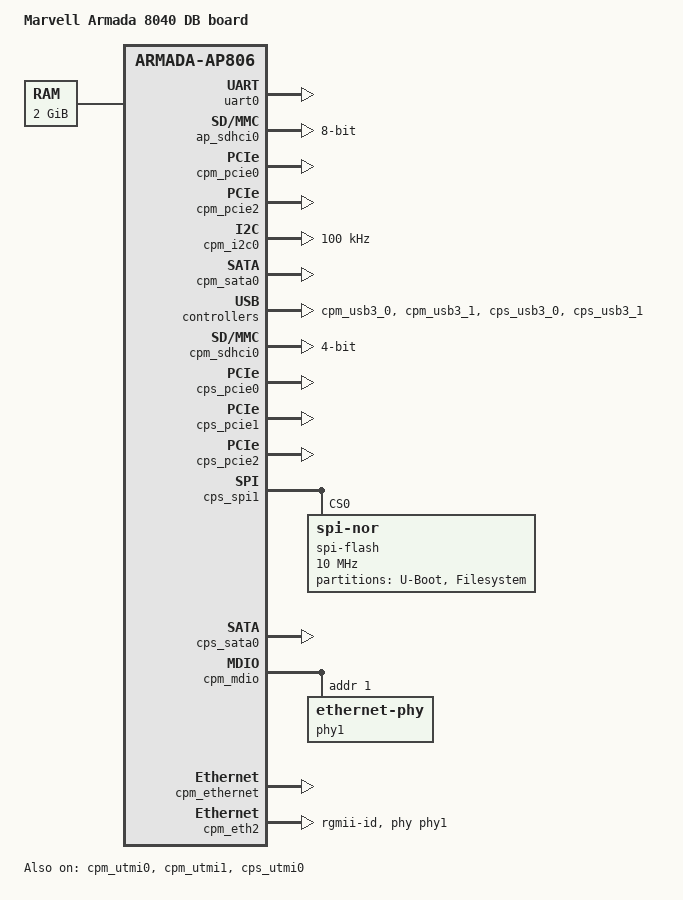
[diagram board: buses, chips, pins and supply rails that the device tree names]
/*
 * Copyright (C) 2016 Marvell Technology Group Ltd.
 *
 * This file is dual-licensed: you can use it either under the terms
 * of the GPLv2 or the X11 license, at your option. Note that this dual
 * licensing only applies to this file, and not this project as a
 * whole.
 *
 *  a) This library is free software; you can redistribute it and/or
 *     modify it under the terms of the GNU General Public License as
 *     published by the Free Software Foundation; either version 2 of the
 *     License, or (at your option) any later version.
 *
 *     This library is distributed in the hope that it will be useful,
 *     but WITHOUT ANY WARRANTY; without even the implied warranty of
 *     MERCHANTABILITY or FITNESS FOR A PARTICULAR PURPOSE.  See the
 *     GNU General Public License for more details.
 *
 * Or, alternatively,
 *
 *  b) Permission is hereby granted, free of charge, to any person
 *     obtaining a copy of this software and associated documentation
 *     files (the "Software"), to deal in the Software without
 *     restriction, including without limitation the rights to use,
 *     copy, modify, merge, publish, distribute, sublicense, and/or
 *     sell copies of the Software, and to permit persons to whom the
 *     Software is furnished to do so, subject to the following
 *     conditions:
 *
 *     The above copyright notice and this permission notice shall be
 *     included in all copies or substantial portions of the Software.
 *
 *     THE SOFTWARE IS PROVIDED "AS IS", WITHOUT WARRANTY OF ANY KIND,
 *     EXPRESS OR IMPLIED, INCLUDING BUT NOT LIMITED TO THE WARRANTIES
 *     OF MERCHANTABILITY, FITNESS FOR A PARTICULAR PURPOSE AND
 *     NONINFRINGEMENT. IN NO EVENT SHALL THE AUTHORS OR COPYRIGHT
 *     HOLDERS BE LIABLE FOR ANY CLAIM, DAMAGES OR OTHER LIABILITY,
 *     WHETHER IN AN ACTION OF CONTRACT, TORT OR OTHERWISE, ARISING
 *     FROM, OUT OF OR IN CONNECTION WITH THE SOFTWARE OR THE USE OR
 *     OTHER DEALINGS IN THE SOFTWARE.
 */

/*
 * Device Tree file for Marvell Armada 8040 Development board platform
 */

#include "armada-8040.dtsi"

/ {
	model = "Marvell Armada 8040 DB board";
	compatible = "marvell,armada8040-db", "marvell,armada8040",
		     "marvell,armada-ap806-quad", "marvell,armada-ap806";

	chosen {
		stdout-path = "serial0:115200n8";
	};

	aliases {
		i2c0 = &cpm_i2c0;
		spi0 = &cps_spi1;
	};

	memory@00000000 {
		device_type = "memory";
		reg = <0x0 0x0 0x0 0x80000000>;
	};
};

/* Accessible over the mini-USB CON9 connector on the main board */
&uart0 {
	status = "okay";
};

&ap_pinctl {
	/* MPP Bus:
	 * SDIO  [0-10]
	 * UART0 [11,19]
	 */
		  /* 0 1 2 3 4 5 6 7 8 9 */
	pin-func = < 1 1 1 1 1 1 1 1 1 1
		     1 3 0 0 0 0 0 0 0 3 >;
};

&ap_sdhci0 {
	pinctrl-names = "default";
	pinctrl-0 = <&ap_emmc_pins>;
	bus-width = <8>;
	status = "okay";
};

&cpm_pinctl {
	/* MPP Bus:
	 *	[0-31]	= 0xff: Keep default CP0_shared_pins
	 *	[11]	CLKOUT_MPP_11 (out)
	 *	[23]	LINK_RD_IN_CP2CP (in)
	 *	[25]	CLKOUT_MPP_25 (out)
	 *	[29]	AVS_FB_IN_CP2CP (in)
	 *	[32,34]	GE_MDIO/MDC
	 *	[33]	GPIO: GE_INT#/push button/Wake
	 *	[35]	MSS_GPIO[3]: MSS_PWDN
	 *	[36]	MSS_GPIO[5]: MSS_VTT_EN
	 *	[37-38]	I2C0
	 *	[39]	PTP_CLK
	 *	[40-41]	SATA[0/1]_PRESENT_ACTIVEn
	 *	[42-43]	XG_MDC/XG_MDIO (XSMI)
	 *	[44-55]	RGMII1
	 *	[56-62]	SD
	 */
	/*   0    1    2    3    4    5    6    7    8    9 */
	pin-func = < 0xff 0xff 0xff 0xff 0xff 0xff 0xff 0xff 0xff 0xff
		     0xff 0xff 0xff 0xff 0xff 0xff 0xff 0xff 0xff 0xff
		     0xff 0xff 0xff 0xff 0xff 0xff 0xff 0xff 0xff 0xff
		     0xff 0xff 0x7  0x0  0x7  0xa  0xa  0x2  0x2  0x5
		     0x9  0x9  0x8  0x8  0x1  0x1  0x1  0x1  0x1  0x1
		     0x1  0x1  0x1  0x1  0x1  0x1  0xe  0xe  0xe  0xe
		     0xe  0xe  0xe>;
};

&cpm_comphy {
	/* Serdes Configuration:
	 *	Lane 0: PCIe0 (x1)
	 *	Lane 1: SATA0
	 *	Lane 2: SFI (10G)
	 *	Lane 3: SATA1
	 *	Lane 4: USB3_HOST1
	 *	Lane 5: PCIe2 (x1)
	 */
	phy0 {
		phy-type = <PHY_TYPE_PEX0>;
	};
	phy1 {
		phy-type = <PHY_TYPE_SATA0>;
	};
	phy2 {
		phy-type = <PHY_TYPE_SFI>;
	};
	phy3 {
		phy-type = <PHY_TYPE_SATA1>;
	};
	phy4 {
		phy-type = <PHY_TYPE_USB3_HOST1>;
	};
	phy5 {
		phy-type = <PHY_TYPE_PEX2>;
	};
};

/* CON6 on CP0 expansion */
&cpm_pcie0 {
	status = "okay";
};

&cpm_pcie1 {
	status = "disabled";
};

/* CON5 on CP0 expansion */
&cpm_pcie2 {
	status = "okay";
};

&cpm_i2c0 {
	pinctrl-names = "default";
	pinctrl-0 = <&cpm_i2c0_pins>;
	status = "okay";
	clock-frequency = <100000>;
};

/* CON4 on CP0 expansion */
&cpm_sata0 {
	status = "okay";
};

/* CON9 on CP0 expansion */
&cpm_usb3_0 {
	status = "okay";
};

/* CON10 on CP0 expansion */
&cpm_usb3_1 {
	status = "okay";
};

&cpm_utmi0 {
	status = "okay";
};

&cpm_utmi1 {
	status = "okay";
};

&cpm_sdhci0 {
	pinctrl-names = "default";
	pinctrl-0 = <&cpm_sdhci_pins>;
	bus-width = <4>;
	status = "okay";
};

&cps_pinctl {
	/* MPP Bus:
	 *	[0-11]	RGMII0
	 *	[13-16]	SPI1
	 *	[27,31]	GE_MDIO/MDC
	 *	[28]	SATA1_PRESENT_ACTIVEn
	 *	[29-30]	UART0
	 *	[32-62]	= 0xff: Keep default CP1_shared_pins
	 */
	/*   0    1    2    3    4    5    6    7    8    9 */
	pin-func = < 0x3  0x3  0x3  0x3  0x3  0x3  0x3  0x3  0x3  0x3
		     0x3  0x3  0x3  0x3  0x3  0x3  0x3  0xff 0xff 0xff
		     0xff 0xff 0xff 0xff 0xff 0xff 0xff 0x8  0x9  0xa
		     0xA  0x8  0xff 0xff 0xff 0xff 0xff 0xff 0xff 0xff
		     0xff 0xff 0xff 0xff 0xff 0xff 0xff 0xff 0xff 0xff
		     0xff 0xff 0xff 0xff 0xff 0xff 0xff 0xff 0xff 0xff
		     0xff 0xff 0xff>;
};

&cps_comphy {
	/* Serdes Configuration:
	 *	Lane 0: PCIe0 (x1)
	 *	Lane 1: SATA0
	 *	Lane 2: SFI (10G)
	 *	Lane 3: SATA1
	 *	Lane 4: PCIe1 (x1)
	 *	Lane 5: PCIe2 (x1)
	 */
	phy0 {
		phy-type = <PHY_TYPE_PEX0>;
	};
	phy1 {
		phy-type = <PHY_TYPE_SATA0>;
	};
	phy2 {
		phy-type = <PHY_TYPE_SFI>;
	};
	phy3 {
		phy-type = <PHY_TYPE_SATA1>;
	};
	phy4 {
		phy-type = <PHY_TYPE_PEX1>;
	};
	phy5 {
		phy-type = <PHY_TYPE_PEX2>;
	};
};

/* CON6 on CP1 expansion */
&cps_pcie0 {
	status = "okay";
};

&cps_pcie1 {
	status = "okay";
};

/* CON5 on CP1 expansion */
&cps_pcie2 {
	status = "okay";
};

&cps_spi1 {
	pinctrl-names = "default";
	pinctrl-0 = <&cps_spi1_pins>;
	status = "okay";

	spi-flash@0 {
		#address-cells = <1>;
		#size-cells = <1>;
		compatible = "jedec,spi-nor";
		reg = <0>;
		spi-max-frequency = <10000000>;

		partitions {
			compatible = "fixed-partitions";
			#address-cells = <1>;
			#size-cells = <1>;

			partition@0 {
				label = "U-Boot";
				reg = <0 0x200000>;
			};
			partition@400000 {
				label = "Filesystem";
				reg = <0x200000 0xce0000>;
			};
		};
	};
};

/* CON4 on CP1 expansion */
&cps_sata0 {
	status = "okay";
};

/* CON9 on CP1 expansion */
&cps_usb3_0 {
	status = "okay";
};

/* CON10 on CP1 expansion */
&cps_usb3_1 {
	status = "okay";
};

&cps_utmi0 {
	status = "okay";
};

&cpm_mdio {
	phy1: ethernet-phy@1 {
		reg = <1>;
	};
};

&cpm_ethernet {
	status = "okay";
};

&cpm_eth2 {
	status = "okay";
	phy = <&phy1>;
	phy-mode = "rgmii-id";
};
